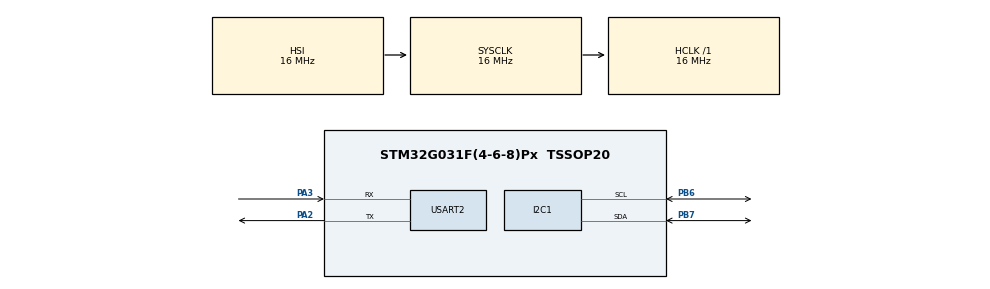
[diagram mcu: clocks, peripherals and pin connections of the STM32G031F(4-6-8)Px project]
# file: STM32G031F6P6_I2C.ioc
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Mcu.Family=STM32G0
Mcu.Name=STM32G031F(4-6-8)Px
Mcu.Package=TSSOP20
PA14-BOOT0__PA15.StandardMode=true
PA2.Mode=Asynchronous
PA2.Signal=USART2_TX
PA3.Mode=Asynchronous
PA3.Signal=USART2_RX
PB0__PB1__PB2__PA8.StandardMode=true
PB3__PB4__PB5__PB6.StandardMode=true
PB6.Mode=I2C
PB6.Signal=I2C1_SCL
PB7.Mode=I2C
PB7.Signal=I2C1_SDA
PB7__PB8.StandardMode=true
PC14-OSC32_IN\ (PC14)__PB9.StandardMode=true
ProjectManager.HeapSize=0x200
ProjectManager.StackSize=0x400
ProjectManager.TargetToolchain=Makefile
RCC.AHBFreq_Value=16000000
RCC.CortexFreq_Value=16000000
RCC.EXTERNAL_CLOCK_VALUE=12288000
RCC.HCLKFreq_Value=16000000
RCC.HSE_VALUE=8000000
RCC.HSI_VALUE=16000000
RCC.LSE_VALUE=32768
RCC.SYSCLKFreq_VALUE=16000000
RCC.VCOOutputFreq_Value=128000000
USART2.VirtualMode-Asynchronous=VM_ASYNC
VP_TIM2_VS_ClockSourceINT.Mode=Internal
board=custom

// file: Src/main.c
/* USER CODE BEGIN Header */
/**
  ******************************************************************************
  * @file           : main.c
  * @brief          : Main program body
  ******************************************************************************
  * @attention
  *
  * Copyright (c) 2023 STMicroelectronics.
  * All rights reserved.
  *
  * This software is licensed under terms that can be found in the LICENSE file
  * in the root directory of this software component.
  * If no LICENSE file comes with this software, it is provided AS-IS.
  *
  ******************************************************************************
  */
/* USER CODE END Header */
#include "main.h"
#include "i2c.h"
#include "tim.h"
#include "usart.h"
#include "gpio.h"

/* USER CODE BEGIN Includes */
#include "printf.h"
#include "bmp3.h"
/* USER CODE END Includes */

void SystemClock_Config(void);
/* USER CODE BEGIN PFP */
static int8_t i2c_write(uint8_t reg_addr, const uint8_t *reg_data, uint32_t len,
                        void *intf_ptr);
static int8_t i2c_read(uint8_t reg_addr, uint8_t *reg_data, uint32_t len,
                       void *intf_ptr);
static void delay_us(uint32_t period, void *intf_ptr);;

/* USER CODE END PFP */

/* USER CODE BEGIN 0 */
void _putchar(char character)
{
    HAL_UART_Transmit(&huart2, (uint8_t *)&character, 1, HAL_MAX_DELAY);
}
/* USER CODE END 0 */

int main(void)
{

  /* MCU Configuration--------------------------------------------------------*/

  /* Reset of all peripherals, Initializes the Flash interface and the Systick. */
  HAL_Init();

  /* Configure the system clock */
  SystemClock_Config();

  /* Initialize all configured peripherals */
  MX_GPIO_Init();
  MX_I2C1_Init();
  MX_USART2_UART_Init();
  MX_TIM2_Init();
  /* USER CODE BEGIN 2 */
  HAL_Delay(1000);
  /* USER CODE END 2 */

  /* Infinite loop */
  /* USER CODE BEGIN WHILE */

  if(HAL_TIM_Base_Start(&htim2) != HAL_OK)
  {
      Error_Handler();
  }

  struct bmp3_dev the_sensor;
  struct bmp3_data data = { 0 };
  struct bmp3_settings settings = { 0 };
  struct bmp3_status status = { 0 };
  uint16_t settings_sel;
  uint16_t loop = 0;

  the_sensor.chip_id = BMP3_ADDR_I2C_SEC;
  the_sensor.intf = BMP3_I2C_INTF;
  the_sensor.read = &i2c_read;
  the_sensor.write = &i2c_write;
  the_sensor.delay_us = &delay_us;
  the_sensor.intf_ptr = &hi2c1;
  the_sensor.dummy_byte = 0;

  int8_t rslt = BMP3_OK;

  rslt = bmp3_soft_reset(&the_sensor);
  if(rslt != BMP3_OK)
  {
      Error_Handler();
  }

  rslt = bmp3_init(&the_sensor);
  if(rslt != BMP3_OK)
  {
      Error_Handler();
  }

  settings.int_settings.drdy_en = BMP3_ENABLE;
  settings.press_en = BMP3_ENABLE;
  settings.temp_en = BMP3_ENABLE;

  settings.odr_filter.press_os = BMP3_OVERSAMPLING_2X;
  settings.odr_filter.temp_os = BMP3_OVERSAMPLING_2X;
  settings.odr_filter.odr = BMP3_ODR_100_HZ;

  settings_sel = BMP3_SEL_PRESS_EN | BMP3_SEL_TEMP_EN | BMP3_SEL_PRESS_OS | BMP3_SEL_TEMP_OS | BMP3_SEL_ODR |
                 BMP3_SEL_DRDY_EN;

  rslt = bmp3_set_sensor_settings(settings_sel, &settings, &the_sensor);
  if(rslt != BMP3_OK)
  {
      Error_Handler();
  }

  settings.op_mode = BMP3_MODE_NORMAL;
  rslt = bmp3_set_op_mode(&settings, &the_sensor);
  if(rslt != BMP3_OK)
  {
      Error_Handler();
  }

  while (1)
  {
    /* USER CODE END WHILE */

    /* USER CODE BEGIN 3 */
    rslt = bmp3_get_status(&status, &the_sensor);
    if(rslt != BMP3_OK)
    {
        Error_Handler();
    }

    if((rslt == BMP3_OK) && (status.intr.drdy == BMP3_ENABLE))
    {
        rslt = bmp3_get_sensor_data(BMP3_PRESS_TEMP, &data, &the_sensor);
        if(rslt != BMP3_OK)
        {
            Error_Handler();
        }

        rslt = bmp3_get_status(&status, &the_sensor);
        if(rslt != BMP3_OK)
        {
            Error_Handler();
        }

        printf("Data[%d]  T: %.2f deg C, P: %.2f Pa\r\n", loop, data.temperature, data.pressure / 100.0f);
    }

    loop++;
    HAL_Delay(2000);
  }
  /* USER CODE END 3 */
}

void SystemClock_Config(void)
{
  RCC_OscInitTypeDef RCC_OscInitStruct = {0};
  RCC_ClkInitTypeDef RCC_ClkInitStruct = {0};

  /** Configure the main internal regulator output voltage
  */
  HAL_PWREx_ControlVoltageScaling(PWR_REGULATOR_VOLTAGE_SCALE1);

  /** Initializes the RCC Oscillators according to the specified parameters
  * in the RCC_OscInitTypeDef structure.
  */
  RCC_OscInitStruct.OscillatorType = RCC_OSCILLATORTYPE_HSI;
  RCC_OscInitStruct.HSIState = RCC_HSI_ON;
  RCC_OscInitStruct.HSIDiv = RCC_HSI_DIV1;
  RCC_OscInitStruct.HSICalibrationValue = RCC_HSICALIBRATION_DEFAULT;
  RCC_OscInitStruct.PLL.PLLState = RCC_PLL_NONE;
  if (HAL_RCC_OscConfig(&RCC_OscInitStruct) != HAL_OK)
  {
    Error_Handler();
  }

  /** Initializes the CPU, AHB and APB buses clocks
  */
  RCC_ClkInitStruct.ClockType = RCC_CLOCKTYPE_HCLK|RCC_CLOCKTYPE_SYSCLK
                              |RCC_CLOCKTYPE_PCLK1;
  RCC_ClkInitStruct.SYSCLKSource = RCC_SYSCLKSOURCE_HSI;
  RCC_ClkInitStruct.AHBCLKDivider = RCC_SYSCLK_DIV1;
  RCC_ClkInitStruct.APB1CLKDivider = RCC_HCLK_DIV1;

  if (HAL_RCC_ClockConfig(&RCC_ClkInitStruct, FLASH_LATENCY_0) != HAL_OK)
  {
    Error_Handler();
  }
}

/* USER CODE BEGIN 4 */
/**************************************************************************/
/*!
    @brief  Reads 8 bit values over I2C
*/
/**************************************************************************/
int8_t i2c_read(uint8_t reg_addr, uint8_t *reg_data, uint32_t len, void *intf_ptr)
{
    I2C_HandleTypeDef *i2c = (I2C_HandleTypeDef *)intf_ptr;
    if(HAL_I2C_Mem_Read(i2c, BMP3_ADDR_I2C_SEC << 1, reg_addr, 1, reg_data, len, HAL_MAX_DELAY))
    {
        return HAL_ERROR;
    }

    return HAL_OK;
}

/**************************************************************************/
/*!
    @brief  Writes 8 bit values over I2C
*/
/**************************************************************************/
int8_t i2c_write(uint8_t reg_addr, const uint8_t *reg_data, uint32_t len, void *intf_ptr)
{
    I2C_HandleTypeDef *i2c = (I2C_HandleTypeDef *)intf_ptr;
    if(HAL_I2C_Mem_Write(i2c, BMP3_ADDR_I2C_SEC << 1, reg_addr, 1, (uint8_t *)reg_data, len, HAL_MAX_DELAY))
    {
        return HAL_ERROR;
    }

    return HAL_OK;
}

void delay_us(uint32_t period, void *intf_ptr)
{
    uint32_t end = TIM2->CNT + 16*period; // 16 - based on 16MHz HCLK
    while(TIM2->CNT < end)
    {
    }
}
/* USER CODE END 4 */

void Error_Handler(void)
{
  __disable_irq();
  while (1)
  {
  }
}
